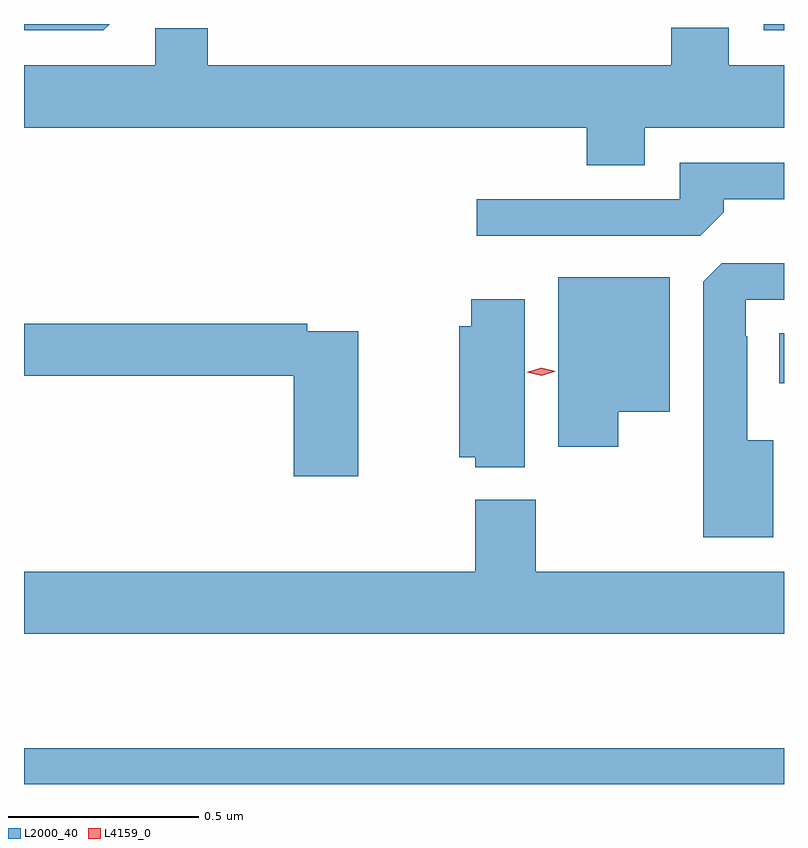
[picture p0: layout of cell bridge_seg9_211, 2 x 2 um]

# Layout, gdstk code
import gdstk
lib = gdstk.Library(unit=1e-6, precision=1e-09)
def R(c, l, rs):  # rectangles x0, y0, x1, y1
    for r in rs: c.add(gdstk.rectangle(r[:2], r[2:], *l))
def P(c, l, *ps):  # polygons
    for p in ps: c.add(gdstk.Polygon(p, *l))
L2000_40 = (2000, 40)
L4159_0 = (4159, 0)

bridge_seg9_211 = lib.new_cell('bridge_seg9_211')
R(bridge_seg9_211, L2000_40, [(196.812,1198.689,198.812,1198.783), (198.8,1199.744,198.812,1199.875), (198.759,1200.672,198.812,1200.689)])
P(bridge_seg9_211, L2000_40, [(197.037,1200.689),(196.812,1200.689),(196.812,1200.672),(197.02,1200.672)],
  [(198.445,1200.416),(198.812,1200.416),(198.812,1200.58),(198.667,1200.58),(198.667,1200.679),(198.515,1200.679),(198.515,1200.58),(197.296,1200.58),(197.296,1200.678),(197.157,1200.678),(197.157,1200.58),(196.812,1200.58),(196.812,1200.416),(198.293,1200.416),(198.293,1200.317),(198.445,1200.317)],
  [(198.653,1200.194),(198.653,1200.228),(198.812,1200.228),(198.812,1200.324),(198.537,1200.324),(198.537,1200.228),(198.003,1200.228),(198.003,1200.132),(198.591,1200.132)],
  [(198.784,1199.593),(198.715,1199.593),(198.715,1199.867),(198.711,1199.867),(198.711,1199.964),(198.812,1199.964),(198.812,1200.06),(198.648,1200.06),(198.599,1200.011),(198.599,1199.339),(198.784,1199.339)],
  [(198.376,1199.669),(198.511,1199.669),(198.511,1200.022),(198.218,1200.022),(198.218,1199.577),(198.376,1199.577)],
  [(198.13,1199.965),(197.989,1199.965),(197.989,1199.893),(197.957,1199.893),(197.957,1199.549),(198,1199.549),(198,1199.522),(198.13,1199.522)],
  [(197.692,1199.88),(197.558,1199.88),(197.558,1199.9),(196.812,1199.9),(196.812,1199.764),(197.522,1199.764),(197.522,1199.499),(197.692,1199.499)],
  [(198.812,1199.248),(198.159,1199.248),(198.159,1199.437),(197.999,1199.437),(197.999,1199.248),(196.812,1199.248),(196.812,1199.084),(198.812,1199.084)])
P(bridge_seg9_211, L4159_0, [(198.174,1199.764),(198.135,1199.773),(198.135,1199.773),(198.135,1199.773),(198.173,1199.784),(198.211,1199.775),(198.211,1199.775),(198.211,1199.775)])

lib.write_gds('bridge_seg9_211.gds')
